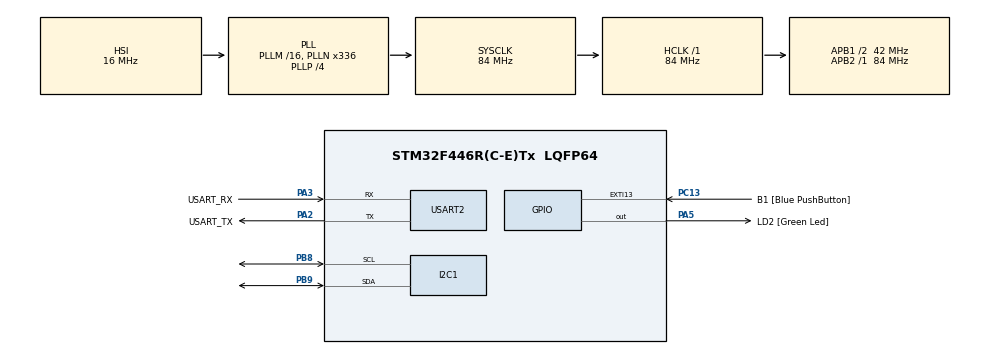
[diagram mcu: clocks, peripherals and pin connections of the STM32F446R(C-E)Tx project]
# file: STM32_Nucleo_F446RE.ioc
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FREERTOS.Tasks01=defaultTask,24,128,StartDefaultTask,Default,NULL,Dynamic,NULL,NULL
FREERTOS.configCHECK_FOR_STACK_OVERFLOW=2
FREERTOS.configTOTAL_HEAP_SIZE=10240
FREERTOS.configUSE_MALLOC_FAILED_HOOK=1
Mcu.Family=STM32F4
Mcu.Name=STM32F446R(C-E)Tx
Mcu.Package=LQFP64
NVIC.PriorityGroup=NVIC_PRIORITYGROUP_4
NVIC.TIM6_DAC_IRQn=true\:15\:0\:false\:false\:true\:false\:false\:true\:true
NVIC.TimeBase=TIM6_DAC_IRQn
NVIC.TimeBaseIP=TIM6
PA13.GPIO_Label=TMS
PA13.Mode=Serial_Wire
PA13.Signal=SYS_JTMS-SWDIO
PA14.GPIO_Label=TCK
PA14.Mode=Serial_Wire
PA14.Signal=SYS_JTCK-SWCLK
PA2.GPIO_Label=USART_TX
PA2.Mode=Asynchronous
PA2.Signal=USART2_TX
PA3.GPIO_Label=USART_RX
PA3.Mode=Asynchronous
PA3.Signal=USART2_RX
PA5.GPIO_Label=LD2 [Green Led]
PA5.Signal=GPIO_Output
PB3.GPIO_Label=SWO
PB3.Signal=SYS_JTDO-SWO
PB8.Mode=I2C
PB8.Signal=I2C1_SCL
PB9.Mode=I2C
PB9.Signal=I2C1_SDA
PC13.GPIO_Label=B1 [Blue PushButton]
PC13.GPIO_ModeDefaultEXTI=GPIO_MODE_IT_FALLING
PC13.Signal=GPXTI13
PC14-OSC32_IN.Mode=LSE-External-Oscillator
PC14-OSC32_IN.Signal=RCC_OSC32_IN
PC15-OSC32_OUT.Mode=LSE-External-Oscillator
PC15-OSC32_OUT.Signal=RCC_OSC32_OUT
PH0-OSC_IN.Mode=HSE-External-Oscillator
PH0-OSC_IN.Signal=RCC_OSC_IN
PH1-OSC_OUT.Mode=HSE-External-Oscillator
PH1-OSC_OUT.Signal=RCC_OSC_OUT
ProjectManager.HeapSize=0x200
ProjectManager.StackSize=0x400
ProjectManager.TargetToolchain=CMake
RCC.48MHZClocksFreq_Value=84000000
RCC.AHBFreq_Value=84000000
RCC.APB1CLKDivider=RCC_HCLK_DIV2
RCC.APB1Freq_Value=42000000
RCC.APB1TimFreq_Value=84000000
RCC.APB2Freq_Value=84000000
RCC.APB2TimFreq_Value=84000000
RCC.CortexFreq_Value=84000000
RCC.FLatency-AdvancedSettings=FLASH_LATENCY_2
RCC.HCLKFreq_Value=84000000
RCC.HSE_VALUE=8000000
RCC.HSI_VALUE=16000000
RCC.PLLN=336
RCC.PLLP=RCC_PLLP_DIV4
RCC.SYSCLKFreq_VALUE=84000000
RCC.SYSCLKSource=RCC_SYSCLKSOURCE_PLLCLK
RCC.USBFreq_Value=168000000
RCC.VCOOutputFreq_Value=336000000
USART2.VirtualMode=VM_ASYNC
VP_FREERTOS_VS_CMSIS_V2.Mode=CMSIS_V2
VP_SYS_VS_tim6.Mode=TIM6
board=NUCLEO-F446RE

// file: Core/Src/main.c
/* USER CODE BEGIN Header */

/******************************************************************************
 * @file    main.c
 * @brief   Main application entry point for the MPU6050 attitude estimator.
 *
 * @details Responsibilities:
 *          - Initialize hardware interfaces
 *          - Calibrate the IMU
 *          - Manage loop timing
 *          - Acquire sensor data
 *          - Execute attitude estimation algorithms
 *          - Output telemetry
 *
 * @author  Sumedh Camarushi
 * @date    June 25, 2026
 * ******************************************************************************
 * @attention
 *
 * Copyright (c) 2026 STMicroelectronics.
 * All rights reserved.
 *
 * This software is licensed under terms that can be found in the LICENSE file
 * in the root directory of this software component.
 * If no LICENSE file comes with this software, it is provided AS-IS.
 ******************************************************************************/

/* USER CODE END Header */

#include "main.h"

/* USER CODE BEGIN Includes */

#include <string.h>
#include <stdio.h>

#include "app_tasks.h"

/* USER CODE END Includes */

I2C_HandleTypeDef hi2c1;

UART_HandleTypeDef huart2;

/* Definitions for defaultTask */

/* USER CODE BEGIN PV */

// -----------------------------------------------------------------------------
// Shared RTOS objects
// -----------------------------------------------------------------------------

QueueHandle_t sensorQueue       = 0;	///< Queue carrying raw sensor samples
SemaphoreHandle_t attitudeMutex	= 0;	///< Mutex protecting shared attitude state

// -----------------------------------------------------------------------------
// Task handles
// -----------------------------------------------------------------------------

TaskHandle_t sensorTaskHandle    = NULL;	///< Handle for SensorTask
TaskHandle_t attitudeTaskHandle  = NULL;	///< Handle for AttitudeTask
TaskHandle_t telemetryTaskHandle = NULL;	///< Handle for TelemetryTask

// -----------------------------------------------------------------------------
// Calibration data
// -----------------------------------------------------------------------------

AccelBias accelBias = {0};	///< Accelerometer bias values
GyroBias gyroBias   = {0};	///< Gyroscope bias values

// -----------------------------------------------------------------------------
// Attitude estimates
// -----------------------------------------------------------------------------

Attitude accelAttitude    = {0};	///< Accelerometer-based attitude estimate
Attitude gyroOnlyAttitude = {0};	///< Gyroscope-only attitude estimate (for plotting purposes)
Attitude gyroAttitude     = {0};	///< Corrected attitude estimate used for gyro integration
Attitude filteredAttitude = {0};	///< Complementary-filtered attitude estimate

// -----------------------------------------------------------------------------
// Fault counters
// -----------------------------------------------------------------------------

volatile uint32_t uartFailureCount  = 0U; ///< UART transmit timeout count
volatile uint32_t missedSampleCount = 0U; ///< SensorTask cycles with no valid sample

// -----------------------------------------------------------------------------
// Application state
// -----------------------------------------------------------------------------

uint8_t imuReady = 0;	///< IMU initialization state flag

/* USER CODE END PV */

void SystemClock_Config(void);
static void MX_GPIO_Init(void);
static void MX_USART2_UART_Init(void);
static void MX_I2C1_Init(void);

/* USER CODE BEGIN PFP */

// -----------------------------------------------------------------------------
// Helper functions
// -----------------------------------------------------------------------------

/**
 * @brief   Performs one-time application initialization.
 *
 * @details Handles sensor startup, calibration, initial attitude estimation,
 *          and loop timing initialization.
 */
void appSetup(void);

/* USER CODE END PFP */

/* USER CODE BEGIN 0 */

// -----------------------------------------------------------------------------
// Helper functions
// -----------------------------------------------------------------------------

void appSetup(void)
{
  // -------------------------------------------------------------------------
  // Hardware initialization
  // -------------------------------------------------------------------------

  // Delay briefly so the sensor can power up before I2C communication begins.

  HAL_Delay(100);

  // -------------------------------------------------------------------------
  // Sensor initialization
  // -------------------------------------------------------------------------

  // Print status messages over UART during startup.

  uart_print("\r\nInitializing MPU6050...\r\n");

  // Give the MPU6050 driver access to the configured I2C peripheral.

  MPU6050_SetI2C(&hi2c1);

  // Initialize the sensor and apply its configuration.

  if (!initializeMPU6050())
  {
    uart_print("MPU6050 initialization failed.");
    Error_Handler();
  }

  // Calibrate the accelerometer while the IMU is stationary.

  uart_print("Calibrating accelerometer...\r\n");
  accelBias = calibrateAccel();

  // Calibrate the gyroscope while the IMU is stationary.

  uart_print("Calibrating gyroscope...\r\n");
  gyroBias = calibrateGyro();

  // -------------------------------------------------------------------------
  // Attitude initialization
  // -------------------------------------------------------------------------

  // Estimate the initial roll and pitch from the calibrated accelerometer.

  if (initializeAttitude(&accelBias, &accelAttitude) != HAL_OK)
  {
    uart_print("Attitude initialization failed.\r\n");
    Error_Handler();
  }

  // Initialize both gyro-based estimates to the same starting attitude.

  gyroOnlyAttitude = accelAttitude;
  gyroAttitude     = accelAttitude;

  // Compute the initial filtered estimate.

  if (complementaryFilter(
    &gyroAttitude,
    &accelAttitude,
    COMPLEMENTARY_ALPHA_RTOS,
    &filteredAttitude) != HAL_OK)
  {
    uart_print("Complementary filter initialization failed.\r\n");
    Error_Handler();
  }

  uart_print("Calibration complete.\r\n");

  // Mark initialization as complete.

  imuReady = 1U;

  uart_print("MPU6050 IMU awake.\r\n\r\n");
}

/* USER CODE END 0 */

int main(void)
{

  /* MCU Configuration--------------------------------------------------------*/

  /* Reset of all peripherals, Initializes the Flash interface and the Systick. */

  HAL_Init();

  /* Configure the system clock */

  SystemClock_Config();

  /* Initialize all configured peripherals */

  MX_GPIO_Init();
  MX_USART2_UART_Init();
  MX_I2C1_Init();

  /* USER CODE BEGIN 2 */

  appSetup();

  /* USER CODE END 2 */

  /* Init scheduler */

  /* USER CODE BEGIN RTOS_MUTEX */
  /* add mutexes, ... */

  attitudeMutex = xSemaphoreCreateMutex();

  if (attitudeMutex == 0)
  {
    uart_print("Failed to create attitude mutex.");
    Error_Handler();
  }

  /* USER CODE END RTOS_MUTEX */

  /* USER CODE BEGIN RTOS_QUEUES */
  /* add queues, ... */

  sensorQueue = xQueueCreate(SENSOR_QUEUE_LENGTH, sizeof(SensorSample_t));

  if (sensorQueue == 0)
  {
	  uart_print("Failed to create sensor queue.");
	  Error_Handler();
  }

  /* USER CODE END RTOS_QUEUES */

  /* Create the thread(s) */
  /* creation of defaultTask */

  /* USER CODE BEGIN RTOS_THREADS */
  /* add threads, ... */

  // -------------------------------------------------------------------------
  // RTOS task creation
  // -------------------------------------------------------------------------

  // Create the sensor acquisition task.
  // This task runs at the highest priority because it establishes the sampling cadence.
  // The task handle is captured (instead of discarded as 0) so its stack usage
  // can later be queried via uxTaskGetStackHighWaterMark().

  if (xTaskCreate(
    SensorTask,
    "SensorTask",
    SENSOR_TASK_STACK_SIZE,
    0,
    SENSOR_TASK_PRIORITY,
    &sensorTaskHandle) != pdPASS)
  {
    uart_print("Failed to create SensorTask.");
    Error_Handler();
  }

  // Create the attitude estimation task.
  // It blocks on the queue and runs whenever a fresh sensor sample becomes available.

  if (xTaskCreate(
    AttitudeTask,
    "AttitudeTask",
    ATTITUDE_TASK_STACK_SIZE,
    0,
    ATTITUDE_TASK_PRIORITY,
    &attitudeTaskHandle) != pdPASS)
  {
    uart_print("Failed to create AttitudeTask.");
    Error_Handler();
  }

  // Create the telemetry output task.
  // This task runs at the lowest priority because delayed telemetry is less critical
  // than maintaining deterministic sampling and estimation timing.

  if (xTaskCreate(
    TelemetryTask,
    "TelemetryTask",
    TELEMETRY_TASK_STACK_SIZE,
    0,
    TELEMETRY_TASK_PRIORITY,
    &telemetryTaskHandle) != pdPASS)
  {
    uart_print("Failed to create TelemetryTask.");
    Error_Handler();
  }

  /* USER CODE END RTOS_THREADS */

  /* Start scheduler */

  // Returning from scheduler typically indicates insufficient heap memory to create the idle and/or timer tasks.

  vTaskStartScheduler();

  /* We should never get here as control is now taken by the scheduler */

  /* Infinite loop */
  while (1)
  {

  }
}

void SystemClock_Config(void)
{
  RCC_OscInitTypeDef RCC_OscInitStruct = {0};
  RCC_ClkInitTypeDef RCC_ClkInitStruct = {0};

  /** Configure the main internal regulator output voltage
  */
  __HAL_RCC_PWR_CLK_ENABLE();
  __HAL_PWR_VOLTAGESCALING_CONFIG(PWR_REGULATOR_VOLTAGE_SCALE3);

  /** Initializes the RCC Oscillators according to the specified parameters
  * in the RCC_OscInitTypeDef structure.
  */
  RCC_OscInitStruct.OscillatorType = RCC_OSCILLATORTYPE_HSI;
  RCC_OscInitStruct.HSIState = RCC_HSI_ON;
  RCC_OscInitStruct.HSICalibrationValue = RCC_HSICALIBRATION_DEFAULT;
  RCC_OscInitStruct.PLL.PLLState = RCC_PLL_ON;
  RCC_OscInitStruct.PLL.PLLSource = RCC_PLLSOURCE_HSI;
  RCC_OscInitStruct.PLL.PLLM = 16;
  RCC_OscInitStruct.PLL.PLLN = 336;
  RCC_OscInitStruct.PLL.PLLP = RCC_PLLP_DIV4;
  RCC_OscInitStruct.PLL.PLLQ = 2;
  RCC_OscInitStruct.PLL.PLLR = 2;
  if (HAL_RCC_OscConfig(&RCC_OscInitStruct) != HAL_OK)
  {
    Error_Handler();
  }

  /** Initializes the CPU, AHB and APB buses clocks
  */
  RCC_ClkInitStruct.ClockType = RCC_CLOCKTYPE_HCLK|RCC_CLOCKTYPE_SYSCLK
                              |RCC_CLOCKTYPE_PCLK1|RCC_CLOCKTYPE_PCLK2;
  RCC_ClkInitStruct.SYSCLKSource = RCC_SYSCLKSOURCE_PLLCLK;
  RCC_ClkInitStruct.AHBCLKDivider = RCC_SYSCLK_DIV1;
  RCC_ClkInitStruct.APB1CLKDivider = RCC_HCLK_DIV2;
  RCC_ClkInitStruct.APB2CLKDivider = RCC_HCLK_DIV1;

  if (HAL_RCC_ClockConfig(&RCC_ClkInitStruct, FLASH_LATENCY_2) != HAL_OK)
  {
    Error_Handler();
  }
}

static void MX_I2C1_Init(void)
{

  hi2c1.Instance = I2C1;
  hi2c1.Init.ClockSpeed = 100000;
  hi2c1.Init.DutyCycle = I2C_DUTYCYCLE_2;
  hi2c1.Init.OwnAddress1 = 0;
  hi2c1.Init.AddressingMode = I2C_ADDRESSINGMODE_7BIT;
  hi2c1.Init.DualAddressMode = I2C_DUALADDRESS_DISABLE;
  hi2c1.Init.OwnAddress2 = 0;
  hi2c1.Init.GeneralCallMode = I2C_GENERALCALL_DISABLE;
  hi2c1.Init.NoStretchMode = I2C_NOSTRETCH_DISABLE;
  if (HAL_I2C_Init(&hi2c1) != HAL_OK)
  {
    Error_Handler();
  }

}

static void MX_USART2_UART_Init(void)
{

  huart2.Instance = USART2;
  huart2.Init.BaudRate = 115200;
  huart2.Init.WordLength = UART_WORDLENGTH_8B;
  huart2.Init.StopBits = UART_STOPBITS_1;
  huart2.Init.Parity = UART_PARITY_NONE;
  huart2.Init.Mode = UART_MODE_TX_RX;
  huart2.Init.HwFlowCtl = UART_HWCONTROL_NONE;
  huart2.Init.OverSampling = UART_OVERSAMPLING_16;
  if (HAL_UART_Init(&huart2) != HAL_OK)
  {
    Error_Handler();
  }

}

static void MX_GPIO_Init(void)
{
  GPIO_InitTypeDef GPIO_InitStruct = {0};

  /* GPIO Ports Clock Enable */
  __HAL_RCC_GPIOC_CLK_ENABLE();
  __HAL_RCC_GPIOH_CLK_ENABLE();
  __HAL_RCC_GPIOA_CLK_ENABLE();
  __HAL_RCC_GPIOB_CLK_ENABLE();

  /*Configure GPIO pin Output Level */
  HAL_GPIO_WritePin(LD2_GPIO_Port, LD2_Pin, GPIO_PIN_RESET);

  /*Configure GPIO pin : B1_Pin */
  GPIO_InitStruct.Pin = B1_Pin;
  GPIO_InitStruct.Mode = GPIO_MODE_IT_FALLING;
  GPIO_InitStruct.Pull = GPIO_NOPULL;
  HAL_GPIO_Init(B1_GPIO_Port, &GPIO_InitStruct);

  /*Configure GPIO pin : LD2_Pin */
  GPIO_InitStruct.Pin = LD2_Pin;
  GPIO_InitStruct.Mode = GPIO_MODE_OUTPUT_PP;
  GPIO_InitStruct.Pull = GPIO_NOPULL;
  GPIO_InitStruct.Speed = GPIO_SPEED_FREQ_LOW;
  HAL_GPIO_Init(LD2_GPIO_Port, &GPIO_InitStruct);

}

/* USER CODE BEGIN 4 */

void uart_print(const char *msg)
{
  // Ignore null pointers instead of passing an invalid buffer into the HAL
  // transmit function.

  if (msg == 0)
  {
    return;
  }

  if (HAL_UART_Transmit(&huart2,
                        (uint8_t *)msg,
                         strlen(msg),
                      UART_TRANSMIT_TIMEOUT_MS) != HAL_OK)
  {
    // Increment the UART failure counter for diagnostics.
    uartFailureCount++;
  }
}

// -----------------------------------------------------------------------------
// Stack usage reporting
// -----------------------------------------------------------------------------

#if CHECK_STACK_OVERFLOW_DEBUG

void reportStackHighWaterMarks(void)
{
  char reportBuffer[128];
  UBaseType_t sensorFreeWords    = 0U;
  UBaseType_t attitudeFreeWords  = 0U;
  UBaseType_t telemetryFreeWords = 0U;

  // uxTaskGetStackHighWaterMark() returns the smallest amount of free stack
  // (in words, not bytes) that a given task has ever had since it started
  // running. A LOW returned value means that task came close to overflowing;
  // a HIGH value means the allocated stack size (currently 256 words each,
  // set in app_tasks.h) may be larger than actually needed.

  // Query the minimum recorded free stack for each task since startup. The
  // returned values are in words, not bytes, so they should be interpreted
  // relative to the word-based stack sizes passed to xTaskCreate().

  sensorFreeWords    = uxTaskGetStackHighWaterMark(sensorTaskHandle);
  attitudeFreeWords  = uxTaskGetStackHighWaterMark(attitudeTaskHandle);
  telemetryFreeWords = uxTaskGetStackHighWaterMark(telemetryTaskHandle);

  // Format a single compact diagnostic line so stack headroom can be checked
  // quickly during hardware testing from the serial terminal or log capture.

  snprintf(
      reportBuffer,
      sizeof(reportBuffer),
      "Stack headroom (words) - Sensor: %lu, Attitude: %lu, Telemetry: %lu\r\n",
      (unsigned long)sensorFreeWords,
      (unsigned long)attitudeFreeWords,
      (unsigned long)telemetryFreeWords);

  uart_print(reportBuffer);
}

#endif

/* USER CODE END 4 */

void HAL_TIM_PeriodElapsedCallback(TIM_HandleTypeDef *htim)
{
  if (htim->Instance == TIM6)
  {
    HAL_IncTick();
  }
}

void Error_Handler(void)
{
  __disable_irq();
  while (1)
  {
  }
}

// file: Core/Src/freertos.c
/* USER CODE BEGIN Header */
/**
  ******************************************************************************
  * @file   freertos.c
  * @brief  Code for freertos applications
  ******************************************************************************
  * @attention
  *
  * Copyright (c) 2026 STMicroelectronics.
  * All rights reserved.
  *
  * This software is licensed under terms that can be found in the LICENSE file
  * in the root directory of this software component.
  * If no LICENSE file comes with this software, it is provided AS-IS.
  *
  ******************************************************************************
  */
/* USER CODE END Header */

#include "FreeRTOS.h"
#include "task.h"
#include "main.h"

/* Hook prototypes */

/**
 * @brief             Handles a FreeRTOS task stack overflow fault.
 *
 * @details           FreeRTOS calls this hook automatically when stack overflow checking
 *                    is enabled in FreeRTOSConfig.h and a task exceeds its allocated
 *                    stack region. On Cortex-M systems, such an overflow can silently
 *                    corrupt adjacent RAM rather than producing an immediate fault.
 *                    This hook converts that condition into an explicit failure by
 *                    reporting the offending task name over UART and then halting the
 *                    system through Error_Handler().
 *
 * @param xTask:      Handle of the task whose stack overflowed.
 * @param pcTaskName: Pointer to the name string of the task whose stack overflowed.
 */
void vApplicationStackOverflowHook(xTaskHandle xTask, signed char *pcTaskName);
void vApplicationMallocFailedHook(void);

/* USER CODE BEGIN 4 */
void vApplicationStackOverflowHook(xTaskHandle xTask, signed char *pcTaskName)
{
	// The task handle itself is not needed here, only its name string.
	// Casting to void silences an unused-parameter warning.

	(void)xTask;

	// Print an explicit fault message before halting so the failure is visible
	// on the serial terminal instead of appearing as silent memory corruption.

	uart_print("\r\n*** STACK OVERFLOW DETECTED IN TASK: ");
	uart_print((const char *)pcTaskName);
	uart_print(" ***\r\n");

	// A detected stack overflow is unrecoverable for this application. Stop the
	// system immediately rather than continuing with corrupted task memory.

	Error_Handler();
}
/* USER CODE END 4 */

/* USER CODE BEGIN 5 */
void vApplicationMallocFailedHook(void)
{
  // Print an explicit fault message before halting so the failure is visible
	// on the serial terminal instead of appearing as silent memory corruption.

  uart_print("\r\n*** MALLOC FAILED ***\r\n");

  // A detected heap overflow is unrecoverable for this application. Stop the
	// system immediately rather than continuing with corrupted task memory.

  Error_Handler();
}
/* USER CODE END 5 */
